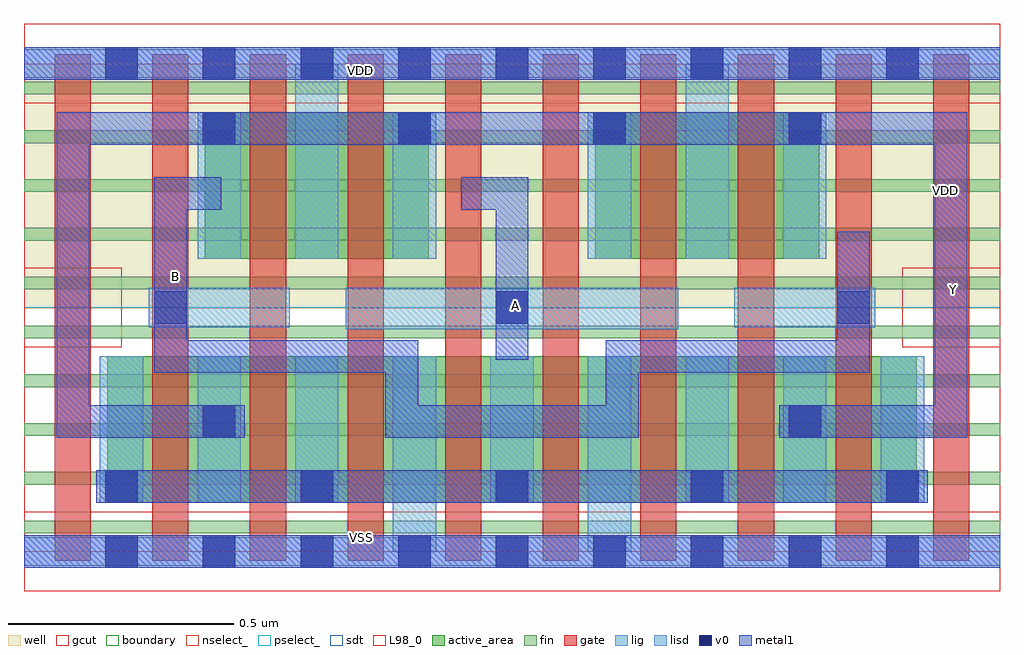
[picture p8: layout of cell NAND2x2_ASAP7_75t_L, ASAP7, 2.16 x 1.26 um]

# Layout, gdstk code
import gdstk
lib = gdstk.Library(unit=1e-6, precision=2.5e-10)
def R(c, l, rs):  # rectangles x0, y0, x1, y1
    for r in rs: c.add(gdstk.rectangle(r[:2], r[2:], *l))
def A(c, l, x, y, w, h, nx, ny, dx, dy):  # array of equal rectangles
    R(c, l, [(x+i*dx, y+j*dy, x+i*dx+w, y+j*dy+h) for i in range(nx) for j in range(ny)])
def P(c, l, *ps):  # polygons
    for p in ps: c.add(gdstk.Polygon(p, *l))
well = (1, 0)
fin = (2, 0)
gate = (7, 0)
gcut = (10, 0)
active_area = (11, 0)
nselect_ = (12, 0)
pselect_ = (13, 0)
lig = (16, 0)
lisd = (17, 0)
v0 = (18, 0)
metal1 = (19, 0)
sdt = (88, 0)
L98_0 = (98, 0)
boundary = (100, 0)

nand2x2_asap7_75t_l = lib.new_cell('NAND2x2_ASAP7_75t_L')
R(nand2x2_asap7_75t_l, well, [(0,0.54,2.16,1.08)])
A(nand2x2_asap7_75t_l, fin, 0, 0.04, 2.16, 0.028, 1, 10, 0, 0.108)
A(nand2x2_asap7_75t_l, gate, 0.068, -0.02, 0.08, 1.12, 10, 1, 0.216, 0)
R(nand2x2_asap7_75t_l, gcut, [(0,-0.088,2.16,0.088), (0,0.452,0.216,0.628), (1.944,0.452,2.16,0.628), (0,0.992,2.16,1.168)])
R(nand2x2_asap7_75t_l, active_area, [(0.184,0.108,1.976,0.432), (0.4,0.648,0.896,0.972), (1.264,0.648,1.76,0.972)])
R(nand2x2_asap7_75t_l, nselect_, [(0,0,2.16,0.54)])
R(nand2x2_asap7_75t_l, pselect_, [(0,0.54,2.16,1.08)])
R(nand2x2_asap7_75t_l, lig, [(0,-0.032,2.16,0.032), (0.712,0.492,1.448,0.584), (0.276,0.496,0.588,0.584), (1.572,0.496,1.884,0.584), (0,1.048,2.16,1.112)])
A(nand2x2_asap7_75t_l, lisd, 0.168, 0.108, 0.096, 0.324, 3, 1, 0.216, 0)
A(nand2x2_asap7_75t_l, lisd, 1.464, 0.108, 0.096, 0.324, 3, 1, 0.216, 0)
A(nand2x2_asap7_75t_l, lisd, 0.384, 0.648, 0.096, 0.324, 4, 1, 0.432, 0)
R(nand2x2_asap7_75t_l, lisd, [(0.816,0,0.912,0.432), (1.248,0,1.344,0.432), (1.032,0.108,1.128,0.432), (0.6,0.648,0.696,1.08), (1.464,0.648,1.56,1.08)])
A(nand2x2_asap7_75t_l, v0, 0.18, -0.036, 0.072, 0.072, 9, 2, 0.216, 1.08)
A(nand2x2_asap7_75t_l, v0, 0.18, 0.108, 0.072, 0.072, 5, 1, 0.432, 0)
A(nand2x2_asap7_75t_l, v0, 0.288, 0.504, 0.072, 0.072, 3, 1, 0.756, 0)
A(nand2x2_asap7_75t_l, v0, 0.396, 0.9, 0.072, 0.072, 4, 1, 0.432, 0)
R(nand2x2_asap7_75t_l, v0, [(0.396,0.252,0.468,0.324), (1.692,0.252,1.764,0.324)])
R(nand2x2_asap7_75t_l, metal1, [(0,-0.036,2.16,0.036), (0.16,0.108,2,0.18), (0,1.044,2.16,1.116)])
P(nand2x2_asap7_75t_l, metal1, [(2.088,0.972),(0.072,0.972),(0.072,0.252),(0.488,0.252),(0.488,0.324),(0.144,0.324),(0.144,0.9),(2.016,0.9),(2.016,0.324),(1.672,0.324),(1.672,0.252),(2.088,0.252)],
  [(1.872,0.708),(1.8,0.708),(1.8,0.468),(1.288,0.468),(1.288,0.324),(0.872,0.324),(0.872,0.468),(0.36,0.468),(0.36,0.756),(0.436,0.756),(0.436,0.828),(0.288,0.828),(0.288,0.396),(0.8,0.396),(0.8,0.252),(1.36,0.252),(1.36,0.396),(1.872,0.396)],
  [(1.116,0.828),(0.968,0.828),(0.968,0.756),(1.044,0.756),(1.044,0.424),(1.116,0.424)])
A(nand2x2_asap7_75t_l, sdt, 0.168, 0.108, 0.096, 0.324, 9, 1, 0.216, 0)
A(nand2x2_asap7_75t_l, sdt, 0.384, 0.648, 0.096, 0.324, 3, 1, 0.216, 0)
A(nand2x2_asap7_75t_l, sdt, 1.248, 0.648, 0.096, 0.324, 3, 1, 0.216, 0)
R(nand2x2_asap7_75t_l, L98_0, [(0,0,2.16,1.08)])
R(nand2x2_asap7_75t_l, boundary, [(0,0,2.16,1.08)])
nand2x2_asap7_75t_l.add(gdstk.Label('VDD', (2.04,0.8), layer=1, texttype=251))
nand2x2_asap7_75t_l.add(gdstk.Label('B', (0.336,0.608), layer=19, texttype=251))
nand2x2_asap7_75t_l.add(gdstk.Label('VSS', (0.748,0.032), layer=19, texttype=251))
nand2x2_asap7_75t_l.add(gdstk.Label('VDD', (0.744,1.064), layer=19, texttype=251))
nand2x2_asap7_75t_l.add(gdstk.Label('Y', (2.056,0.58), layer=19, texttype=251))
nand2x2_asap7_75t_l.add(gdstk.Label('A', (1.088,0.544), layer=19, texttype=251))
nand2x2_asap7_75t_l.add(gdstk.Label('VSS', (1.74,-0.22), layer=3, texttype=251))

lib.write_gds('NAND2x2_ASAP7_75t_L.gds')
